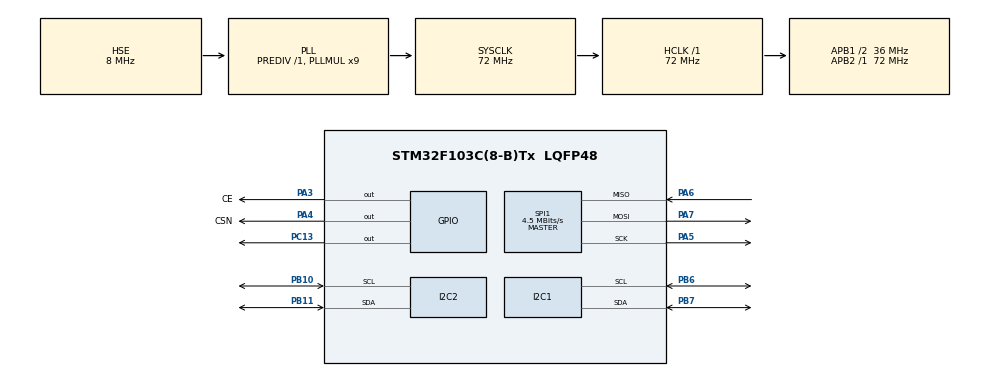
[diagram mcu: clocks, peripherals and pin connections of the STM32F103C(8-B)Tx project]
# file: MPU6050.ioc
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I2C2.I2C_Mode=I2C_Fast
Mcu.Family=STM32F1
Mcu.Name=STM32F103C(8-B)Tx
Mcu.Package=LQFP48
NVIC.PriorityGroup=NVIC_PRIORITYGROUP_4
NVIC.TIM1_UP_IRQn=true\:15\:0\:false\:false\:true\:false\:true\:true
NVIC.TimeBase=TIM1_UP_IRQn
NVIC.TimeBaseIP=TIM1
PA13.Mode=Serial_Wire
PA13.Signal=SYS_JTMS-SWDIO
PA14.Mode=Serial_Wire
PA14.Signal=SYS_JTCK-SWCLK
PA3.GPIO_Label=CE
PA3.Signal=GPIO_Output
PA4.GPIO_Label=CSN
PA4.Signal=GPIO_Output
PA5.Mode=Full_Duplex_Master
PA5.Signal=SPI1_SCK
PA6.Mode=Full_Duplex_Master
PA6.Signal=SPI1_MISO
PA7.Mode=Full_Duplex_Master
PA7.Signal=SPI1_MOSI
PB10.Mode=I2C
PB10.Signal=I2C2_SCL
PB11.Mode=I2C
PB11.Signal=I2C2_SDA
PB6.Mode=I2C
PB6.Signal=I2C1_SCL
PB7.Mode=I2C
PB7.Signal=I2C1_SDA
PC13-TAMPER-RTC.GPIO_PuPd=GPIO_PULLUP
PC13-TAMPER-RTC.Signal=GPIO_Output
PD0-OSC_IN.Mode=HSE-External-Oscillator
PD0-OSC_IN.Signal=RCC_OSC_IN
PD1-OSC_OUT.Mode=HSE-External-Oscillator
PD1-OSC_OUT.Signal=RCC_OSC_OUT
ProjectManager.HeapSize=0x200
ProjectManager.StackSize=0x400
ProjectManager.TargetToolchain=STM32CubeIDE
RCC.AHBFreq_Value=72000000
RCC.APB1CLKDivider=RCC_HCLK_DIV2
RCC.APB1Freq_Value=36000000
RCC.APB1TimFreq_Value=72000000
RCC.APB2Freq_Value=72000000
RCC.APB2TimFreq_Value=72000000
RCC.HCLKFreq_Value=72000000
RCC.PLLMUL=RCC_PLL_MUL9
RCC.PLLSourceVirtual=RCC_PLLSOURCE_HSE
RCC.SYSCLKFreq_VALUE=72000000
RCC.SYSCLKSource=RCC_SYSCLKSOURCE_PLLCLK
RCC.USBFreq_Value=72000000
SPI1.BaudRatePrescaler=SPI_BAUDRATEPRESCALER_16
SPI1.CalculateBaudRate=4.5 MBits/s
SPI1.Direction=SPI_DIRECTION_2LINES
SPI1.Mode=SPI_MODE_MASTER
SPI1.VirtualType=VM_MASTER
VP_SYS_VS_tim1.Mode=TIM1
board=custom

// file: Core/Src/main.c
/* USER CODE BEGIN Header */
/**
 ******************************************************************************
 * @file           : main.c
 * @brief          : Main program body
 ******************************************************************************
 * @attention
 *
 * Copyright (c) 2025 STMicroelectronics.
 * All rights reserved.
 *
 * This software is licensed under terms that can be found in the LICENSE file
 * in the root directory of this software component.
 * If no LICENSE file comes with this software, it is provided AS-IS.
 *
 ******************************************************************************
 */
/* USER CODE END Header */
#include "main.h"

/* USER CODE BEGIN Includes */
/* ====================== KHAI BÁO & CẤU HÌNH ====================== */
#include "FreeRTOS.h"
#include "task.h"
#include <math.h>
#include "SEGGER_SYSVIEW.h"
#include <stdio.h>
#include "fonts.h"
#include "ssd1306.h"
#include "nrf24l01.h"
//===========================================

#define SIZE_RX_BUF 8
uint8_t rx_data[SIZE_RX_BUF];
uint8_t rxAddr[] = { 0xEA, 0xDD, 0xCC, 0xBB, 0xAA };
nrf24 nrfRx;

//=============================================
/* Biến toàn cục lưu giá trị góc */
float pitch_val, roll_val, yaw_val; // Tích phân từ gyro Z

/* Biến lưu dữ liệu gia tốc và gyro */
float AX, AY, AZ, GX, GY, GZ;
int16_t ax = 0, ay = 0, az = 0;   // raw accel
int16_t gx = 0, gy = 0, gz = 0;   // raw gyro

float pitch = 0.0f, roll = 0.0f;  // góc tính toán ban đầu
uint32_t lastTime = 0;            // thời điểm đọc lần trước

uint8_t check;    // dùng để đọc WHO_AM_I (địa chỉ ID MPU6050)
uint8_t mData;    // buffer tạm để ghi vào thanh ghi MPU6050

/* ====================== KALMAN FILTER ====================== */
/* Cấu trúc dữ liệu Kalman */
typedef struct {
	float angle;   // góc ước lượng
	float bias;    // lỗi bias gyro
	float rate;    // tốc độ góc sau khi trừ bias
	float P[2][2]; // ma trận covariance
} Kalman_t;

/* Khởi tạo filter cho pitch và roll */
Kalman_t kalmanPitch = { 0 }, kalmanRoll = { 0 };

/* Tham số Kalman */
float Q_angle = 0.001f;   // noise quá trình (cho góc)
float Q_bias = 0.003f;   // noise quá trình (cho bias)
float R_measure = 0.03f;    // noise đo (từ cảm biến accel)

/* USER CODE END Includes */

I2C_HandleTypeDef hi2c1;
I2C_HandleTypeDef hi2c2;

SPI_HandleTypeDef hspi1;

/* USER CODE BEGIN PV */
//================================================================================
float Kalman_getAngle(Kalman_t *Kalman, float newAngle, float newRate, float dt) {
	/* ======= Bước 1: Dự đoán (Predict) ======= */
	Kalman->rate = newRate - Kalman->bias;
	Kalman->angle += dt * Kalman->rate;

	// Cập nhật ma trận sai số
	Kalman->P[0][0] += dt
			* (dt * Kalman->P[1][1] - Kalman->P[0][1] - Kalman->P[1][0]
					+ Q_angle);
	Kalman->P[0][1] -= dt * Kalman->P[1][1];
	Kalman->P[1][0] -= dt * Kalman->P[1][1];
	Kalman->P[1][1] += Q_bias * dt;

	/* ======= Bước 2: Cập nhật (Update) ======= */
	float S = Kalman->P[0][0] + R_measure; // Độ bất định đo lường
	float K[2];                            // Kalman gain
	K[0] = Kalman->P[0][0] / S;
	K[1] = Kalman->P[1][0] / S;

	float y = newAngle - Kalman->angle; // Sai số đo
	Kalman->angle += K[0] * y;
	Kalman->bias += K[1] * y;

	// Cập nhật ma trận covariance
	float P00_temp = Kalman->P[0][0];
	float P01_temp = Kalman->P[0][1];

	Kalman->P[0][0] -= K[0] * P00_temp;
	Kalman->P[0][1] -= K[0] * P01_temp;
	Kalman->P[1][0] -= K[1] * P00_temp;
	Kalman->P[1][1] -= K[1] * P01_temp;

	return Kalman->angle;
}

/* USER CODE END PV */

void SystemClock_Config(void);
static void MX_GPIO_Init(void);
static void MX_I2C1_Init(void);
static void MX_I2C2_Init(void);
static void MX_SPI1_Init(void);
/* USER CODE BEGIN PFP */
void TaskMPU6050_Read(void *argument);
void TaskOLED_Display(void *argument);
void TaskNRF_RX(void *argument);
//==========================================================
void MPU6050Init(void);
void MPU6050ReadA(void);
void MPU6050ReadG(void);
void vSystemViewStartTask(void *argument);
void vConfigureTimerForRunTimeStats(void);
void SystemClock_Config(void);
/* USER CODE END PFP */

int main(void)
{

  /* MCU Configuration--------------------------------------------------------*/

  /* Reset of all peripherals, Initializes the Flash interface and the Systick. */
  HAL_Init();

  /* Configure the system clock */
  SystemClock_Config();

  /* Initialize all configured peripherals */
  MX_GPIO_Init();
  MX_I2C1_Init();
  MX_I2C2_Init();
  MX_SPI1_Init();
  /* USER CODE BEGIN 2 */
	//=============================================================================
	nrfRx.hSPIx   = &hspi1;
	nrfRx.CE_port =CE_GPIO_Port;
	nrfRx.CE_pin  = CE_Pin;
	nrfRx.CSN_port= CSN_GPIO_Port;
	nrfRx.CSN_pin = CSN_Pin;

	nrfRx.hSPIx = &hspi1;
	NRF24_Init(&nrfRx);
	NRF24_Set_DataRate(&nrfRx, _250KBS);
	NRF24_Set_PALevel(&nrfRx, HIGH);
	NRF24_Set_RxPipe(&nrfRx, rxAddr, 0, SIZE_RX_BUF);
	NRF24_Set_Mode(&nrfRx, RX_MODE);
	//=========================================================================
	vConfigureTimerForRunTimeStats();
	SEGGER_SYSVIEW_Conf(); /* Thêm vào nếu sử dụng SEGGER SystemView!*/
	MPU6050Init();
	xTaskCreate(TaskMPU6050_Read, "MPU6050", 256, NULL, 2, NULL);
	xTaskCreate(TaskOLED_Display, "OLED", 256, NULL, 1, NULL);
	xTaskCreate(TaskNRF_RX, "NRF_RX", 256, NULL, 3, NULL); // priority cao hơn OLED
	// Bắt đầu RTOS
	/* Tạo task khởi động SystemView */
	xTaskCreate(vSystemViewStartTask, "SysViewStart", 256, NULL,
	configMAX_PRIORITIES - 1, NULL);

	vTaskStartScheduler();
  /* USER CODE END 2 */

  /* Infinite loop */
	while (1) {

	}
}

void SystemClock_Config(void)
{
  RCC_OscInitTypeDef RCC_OscInitStruct = {0};
  RCC_ClkInitTypeDef RCC_ClkInitStruct = {0};

  /** Initializes the RCC Oscillators according to the specified parameters
  * in the RCC_OscInitTypeDef structure.
  */
  RCC_OscInitStruct.OscillatorType = RCC_OSCILLATORTYPE_HSE;
  RCC_OscInitStruct.HSEState = RCC_HSE_ON;
  RCC_OscInitStruct.HSEPredivValue = RCC_HSE_PREDIV_DIV1;
  RCC_OscInitStruct.HSIState = RCC_HSI_ON;
  RCC_OscInitStruct.PLL.PLLState = RCC_PLL_ON;
  RCC_OscInitStruct.PLL.PLLSource = RCC_PLLSOURCE_HSE;
  RCC_OscInitStruct.PLL.PLLMUL = RCC_PLL_MUL9;
  if (HAL_RCC_OscConfig(&RCC_OscInitStruct) != HAL_OK)
  {
    Error_Handler();
  }

  /** Initializes the CPU, AHB and APB buses clocks
  */
  RCC_ClkInitStruct.ClockType = RCC_CLOCKTYPE_HCLK|RCC_CLOCKTYPE_SYSCLK
                              |RCC_CLOCKTYPE_PCLK1|RCC_CLOCKTYPE_PCLK2;
  RCC_ClkInitStruct.SYSCLKSource = RCC_SYSCLKSOURCE_PLLCLK;
  RCC_ClkInitStruct.AHBCLKDivider = RCC_SYSCLK_DIV1;
  RCC_ClkInitStruct.APB1CLKDivider = RCC_HCLK_DIV2;
  RCC_ClkInitStruct.APB2CLKDivider = RCC_HCLK_DIV1;

  if (HAL_RCC_ClockConfig(&RCC_ClkInitStruct, FLASH_LATENCY_2) != HAL_OK)
  {
    Error_Handler();
  }
}

static void MX_I2C1_Init(void)
{

  hi2c1.Instance = I2C1;
  hi2c1.Init.ClockSpeed = 100000;
  hi2c1.Init.DutyCycle = I2C_DUTYCYCLE_2;
  hi2c1.Init.OwnAddress1 = 0;
  hi2c1.Init.AddressingMode = I2C_ADDRESSINGMODE_7BIT;
  hi2c1.Init.DualAddressMode = I2C_DUALADDRESS_DISABLE;
  hi2c1.Init.OwnAddress2 = 0;
  hi2c1.Init.GeneralCallMode = I2C_GENERALCALL_DISABLE;
  hi2c1.Init.NoStretchMode = I2C_NOSTRETCH_DISABLE;
  if (HAL_I2C_Init(&hi2c1) != HAL_OK)
  {
    Error_Handler();
  }

}

static void MX_I2C2_Init(void)
{

  hi2c2.Instance = I2C2;
  hi2c2.Init.ClockSpeed = 400000;
  hi2c2.Init.DutyCycle = I2C_DUTYCYCLE_2;
  hi2c2.Init.OwnAddress1 = 0;
  hi2c2.Init.AddressingMode = I2C_ADDRESSINGMODE_7BIT;
  hi2c2.Init.DualAddressMode = I2C_DUALADDRESS_DISABLE;
  hi2c2.Init.OwnAddress2 = 0;
  hi2c2.Init.GeneralCallMode = I2C_GENERALCALL_DISABLE;
  hi2c2.Init.NoStretchMode = I2C_NOSTRETCH_DISABLE;
  if (HAL_I2C_Init(&hi2c2) != HAL_OK)
  {
    Error_Handler();
  }

}

static void MX_SPI1_Init(void)
{

  /* SPI1 parameter configuration*/
  hspi1.Instance = SPI1;
  hspi1.Init.Mode = SPI_MODE_MASTER;
  hspi1.Init.Direction = SPI_DIRECTION_2LINES;
  hspi1.Init.DataSize = SPI_DATASIZE_8BIT;
  hspi1.Init.CLKPolarity = SPI_POLARITY_LOW;
  hspi1.Init.CLKPhase = SPI_PHASE_1EDGE;
  hspi1.Init.NSS = SPI_NSS_SOFT;
  hspi1.Init.BaudRatePrescaler = SPI_BAUDRATEPRESCALER_16;
  hspi1.Init.FirstBit = SPI_FIRSTBIT_MSB;
  hspi1.Init.TIMode = SPI_TIMODE_DISABLE;
  hspi1.Init.CRCCalculation = SPI_CRCCALCULATION_DISABLE;
  hspi1.Init.CRCPolynomial = 10;
  if (HAL_SPI_Init(&hspi1) != HAL_OK)
  {
    Error_Handler();
  }

}

static void MX_GPIO_Init(void)
{
  GPIO_InitTypeDef GPIO_InitStruct = {0};

  /* GPIO Ports Clock Enable */
  __HAL_RCC_GPIOC_CLK_ENABLE();
  __HAL_RCC_GPIOD_CLK_ENABLE();
  __HAL_RCC_GPIOA_CLK_ENABLE();
  __HAL_RCC_GPIOB_CLK_ENABLE();

  /*Configure GPIO pin Output Level */
  HAL_GPIO_WritePin(GPIOC, GPIO_PIN_13, GPIO_PIN_RESET);

  /*Configure GPIO pin Output Level */
  HAL_GPIO_WritePin(GPIOA, CE_Pin|CSN_Pin, GPIO_PIN_RESET);

  /*Configure GPIO pin : PC13 */
  GPIO_InitStruct.Pin = GPIO_PIN_13;
  GPIO_InitStruct.Mode = GPIO_MODE_OUTPUT_PP;
  GPIO_InitStruct.Pull = GPIO_PULLUP;
  GPIO_InitStruct.Speed = GPIO_SPEED_FREQ_LOW;
  HAL_GPIO_Init(GPIOC, &GPIO_InitStruct);

  /*Configure GPIO pins : CE_Pin CSN_Pin */
  GPIO_InitStruct.Pin = CE_Pin|CSN_Pin;
  GPIO_InitStruct.Mode = GPIO_MODE_OUTPUT_PP;
  GPIO_InitStruct.Pull = GPIO_NOPULL;
  GPIO_InitStruct.Speed = GPIO_SPEED_FREQ_LOW;
  HAL_GPIO_Init(GPIOA, &GPIO_InitStruct);

}

/* USER CODE BEGIN 4 */
//====================================SystemView=================================
void vSystemViewStartTask(void *argument) {
	// THÊM DÒNG NÀY: Chờ 1 giây để J-Link và SystemView trên PC sẵn sàng
	vTaskDelay(pdMS_TO_TICKS(100));

	/* Bật trace, DWT, ITM an toàn khi đang debug */
	if (CoreDebug->DHCSR & CoreDebug_DHCSR_C_DEBUGEN_Msk) {
		CoreDebug->DEMCR |= CoreDebug_DEMCR_TRCENA_Msk;
		DWT->CYCCNT = 0;
		DWT->CTRL |= DWT_CTRL_CYCCNTENA_Msk;

		ITM->LAR = 0xC5ACCE55;
		ITM->TCR = 0;
		ITM->TCR = ITM_TCR_ITMENA_Msk | (1 << ITM_TCR_TSENA_Pos);
		ITM->TER = 1;

		SEGGER_SYSVIEW_Start();
	}
	/* Task này chỉ chạy 1 lần và tự xóa */
	vTaskDelete(NULL);
}
void vConfigureTimerForRunTimeStats(void) {
	// Bật clock cho TIM2
	RCC->APB1ENR |= RCC_APB1ENR_TIM2EN;
	// Cấu hình TIM2 chạy ở 1 MHz
	TIM2->ARR = 0xFFFFFFFF; // Đếm tối đa
	TIM2->PSC = (SystemCoreClock / 1000000) - 1; // Prescaler để đạt 1 MHz
	TIM2->CR1 |= TIM_CR1_CEN; // Bật Timer
}

unsigned long ulGetRunTimeCounterValue(void) {
	return TIM2->CNT; // Trả về giá trị đếm
}
//=======================================MPU6050Init=======================================
void MPU6050Init(void) {
	// Đọc thanh ghi WHO_AM_I (0x75), kết quả phải là 0x68
	HAL_I2C_Mem_Read(&hi2c1, 0xD0, 0x75, I2C_MEMADD_SIZE_8BIT, &check, 1, 1000);

	if (check == 0x68) {
		// Thoát chế độ sleep (ghi 0 vào thanh ghi PWR_MGMT_1)
		mData = 0x00;
		HAL_I2C_Mem_Write(&hi2c1, 0xD0, 0x6B, I2C_MEMADD_SIZE_8BIT, &mData, 1,
				1000);

		// Cấu hình sample rate: 1kHz / (1+7) = 125Hz
		mData = 0x07;
		HAL_I2C_Mem_Write(&hi2c1, 0xD0, 0x19, I2C_MEMADD_SIZE_8BIT, &mData, 1,
				1000);

		// Cấu hình thang đo gyro ±250 °/s
		mData = 0x00;
		HAL_I2C_Mem_Write(&hi2c1, 0xD0, 0x1B, I2C_MEMADD_SIZE_8BIT, &mData, 1,
				1000);

		// Cấu hình thang đo accel ±2g
		mData = 0x00;
		HAL_I2C_Mem_Write(&hi2c1, 0xD0, 0x1C, I2C_MEMADD_SIZE_8BIT, &mData, 1,
				1000);
	}
}
//====================================ReadG=======================================
void MPU6050ReadG(void) {
	uint8_t dataG[6];
	// Đọc 6 byte từ thanh ghi GYRO_XOUT_H (0x43)
	HAL_I2C_Mem_Read(&hi2c1, 0xD0, 0x43, I2C_MEMADD_SIZE_8BIT, dataG, 6, 1000);

	// Gộp byte high và low thành số 16-bit
	gx = (int16_t) (dataG[0] << 8 | dataG[1]);
	gy = (int16_t) (dataG[2] << 8 | dataG[3]);
	gz = (int16_t) (dataG[4] << 8 | dataG[5]);

	// Chuyển đổi sang °/s (scale ±250°/s → 131 LSB/°/s)
	GX = (float) gx / 131.0;
	GY = (float) gy / 131.0;
	GZ = (float) gz / 131.0;
}
//================================ReadA================================
void MPU6050ReadA(void) {
	uint8_t dataA[6];
	// Đọc 6 byte từ thanh ghi ACCEL_XOUT_H (0x3B)
	HAL_I2C_Mem_Read(&hi2c1, 0xD0, 0x3B, I2C_MEMADD_SIZE_8BIT, dataA, 6, 1000);

	ax = (int16_t) (dataA[0] << 8 | dataA[1]);
	ay = (int16_t) (dataA[2] << 8 | dataA[3]);
	az = (int16_t) (dataA[4] << 8 | dataA[5]);

	// Chuyển đổi sang đơn vị g (scale ±2g → 16384 LSB/g)
	AX = (float) ax / 16384.0;
	AY = (float) ay / 16384.0;
	AZ = (float) az / 16384.0;
}
//==================================TaskMPU6050==========================
void TaskMPU6050_Read(void *argument) {
	lastTime = HAL_GetTick();

	for (;;) {
		// Đọc cảm biến
		MPU6050ReadA();
		MPU6050ReadG();

		// Tính khoảng thời gian delta t
		uint32_t now = HAL_GetTick();
		float dt = (now - lastTime) / 1000.0f;
		lastTime = now;

		// Góc tính từ accelerometer (độ)
		float pitchAcc = atan2f(AX, sqrtf(AY * AY + AZ * AZ)) * 57.2958f;
		float rollAcc = atan2f(AY, sqrtf(AX * AX + AZ * AZ)) * 57.2958f;

		// Lọc Kalman (kết hợp gyro + accel)
		pitch_val = Kalman_getAngle(&kalmanPitch, pitchAcc, GX, dt);
		roll_val = Kalman_getAngle(&kalmanRoll, rollAcc, GY, dt);
		// Tích phân từ gyro Z
		yaw_val += GZ * dt;   // GZ: deg/s, dt: thời gian (s)

		// Debug (in ra UART nếu cần)
		// printf("Pitch: %.2f, Roll: %.2f\r\n", pitch_val, roll_val);

		// Delay 10ms → tần số 100Hz
		vTaskDelay(pdMS_TO_TICKS(10));
	}
}
//======================================TaskOLED_Display=======================
void TaskOLED_Display(void *argument) {
	SSD1306_Init();
	char buf[32];

	for (;;) {
		// Xóa màn hình
		SSD1306_Clear();

		// In Pitch
		sprintf(buf, "Pitch: %.2f", pitch_val);
		SSD1306_GotoXY(0, 0);
		SSD1306_Puts(buf, &Font_7x10, 1);

		// In Roll
		sprintf(buf, "Roll : %.2f", roll_val);
		SSD1306_GotoXY(0, 12);
		SSD1306_Puts(buf, &Font_7x10, 1);

		// In Yaw
		sprintf(buf, "Yaw  : %.2f", yaw_val);
		SSD1306_GotoXY(0, 24);
		SSD1306_Puts(buf, &Font_7x10, 1);

		// Cập nhật màn hình
		SSD1306_UpdateScreen();

		// Delay 200ms
		vTaskDelay(pdMS_TO_TICKS(200));
	}
}
//===================================TaskNRF_RX=======================================
void TaskNRF_RX(void *argument)
{
    for(;;)
    {
        // Nếu có dữ liệu từ TX gửi sang
        if (NRF24_Available(&nrfRx, 0)) {
            NRF24_Receive(&nrfRx, rx_data, SIZE_RX_BUF);

            // Chỉ đảo LED PC13
            HAL_GPIO_TogglePin(GPIOC, GPIO_PIN_13);
        }

        vTaskDelay(pdMS_TO_TICKS(10)); // 100Hz
    }
}

/* USER CODE END 4 */

void HAL_TIM_PeriodElapsedCallback(TIM_HandleTypeDef *htim)
{
  if (htim->Instance == TIM1) {
    HAL_IncTick();
  }
}

void Error_Handler(void)
{
	__disable_irq();
	while (1) {
	}
}
